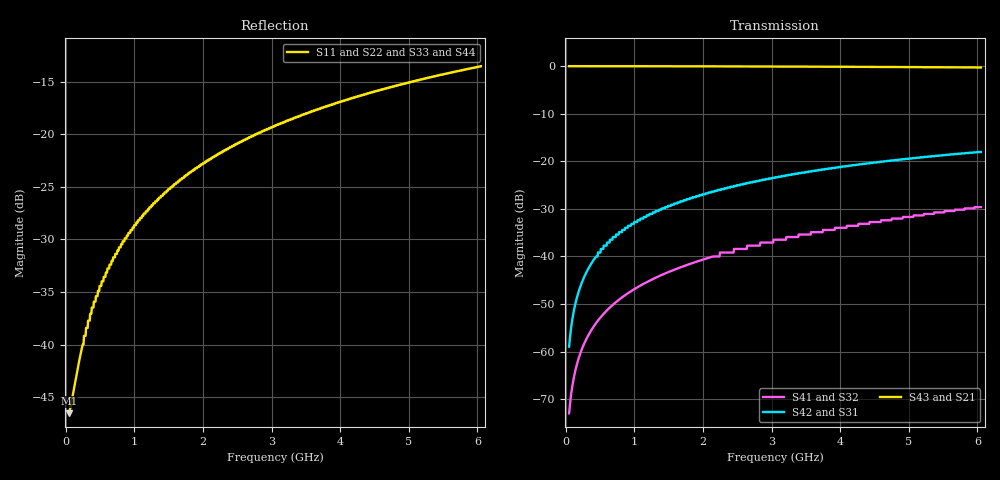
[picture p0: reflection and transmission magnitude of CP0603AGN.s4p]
!	AVX THIN FILM OPERATION
!	CP0603 HIGH DIRECTIVITY COUPLERS
!	P/N CP0603AxxxxGNTR
!	Network	Analyzer HP8720ES.07.64:Feb23,2000 Serial No.US39172382
!	Hewlett-Packard
!	25 December 2012
# MHz S MA R 50
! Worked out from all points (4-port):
!   1000 points, 50 MHz to 6.05 GHz, reference 50 ohm
!   strongest paths, dB at 50 MHz, 1.552 GHz, 3.053 GHz, 4.555 GHz, 6.05 GHz:
!     S43: 0.0, -0.1, -0.1, -0.2, -0.3
!     S21: 0.0, -0.1, -0.1, -0.2, -0.3
!     S42: -58.9, -29.1, -23.5, -20.2, -18.1
!     S31: -58.9, -29.1, -23.5, -20.2, -18.1
!     S41: -72.9, -43.0, -36.5, -32.8, -29.6
!     S32: -72.9, -43.0, -36.5, -32.8, -29.6
!   lowest |S11| = -46.5 dB at 50 MHz (marker M1), VSWR 1.01, Z = 50.4 + j0.182 ohm
!   |S11| at or under -10 dB: start of sweep to end of sweep
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50  0.00471 22.6  0.996 -0.2  0.00113 89.8  0.0002255 -90.7
    0.996 -0.2  0.00471 22.6  0.0002255 -90.7  0.00113 89.8
    0.00113 89.8  0.0002255 -90.7  0.00471 22.6  0.996 -0.2
    0.0002255 -90.7  0.00113 89.8  0.996 -0.2  0.00471 22.6
182.132  0.007924 56.2  0.996 -0.6  0.004116 89.4  0.0008215 -92.5
         0.996 -0.6  0.007924 56.2  0.0008215 -92.5  0.004116 89.4
         0.004116 89.4  0.0008215 -92.5  0.007924 56.2  0.996 -0.6
         0.0008215 -92.5  0.004116 89.4  0.996 -0.6  0.007924 56.2
398.348  0.015 72.0  0.996 -1.2  0.009 88.6  0.001798 -95.4
         0.996 -1.2  0.015 72.0  0.001798 -95.4  0.009 88.6
         0.009 88.6  0.001798 -95.4  0.015 72.0  0.996 -1.2
         0.001798 -95.4  0.009 88.6  0.996 -1.2  0.015 72.0
764.715  0.028 78.6  0.995 -2.4  0.017 87.3  0.003463 -100.3
         0.995 -2.4  0.028 78.6  0.003463 -100.3  0.017 87.3
         0.017 87.3  0.003463 -100.3  0.028 78.6  0.995 -2.4
         0.003463 -100.3  0.017 87.3  0.995 -2.4  0.028 78.6
1299.249  0.047 80.5  0.994 -4.0  0.029 85.4  0.005931 -107.4
          0.994 -4.0  0.047 80.5  0.005931 -107.4  0.029 85.4
          0.029 85.4  0.005931 -107.4  0.047 80.5  0.994 -4.0
          0.005931 -107.4  0.029 85.4  0.994 -4.0  0.047 80.5
3233.183  0.116 77.4  0.986 -10.0  0.071 78.8  0.016 -132.1
          0.986 -10.0  0.116 77.4  0.016 -132.1  0.071 78.8
          0.071 78.8  0.016 -132.1  0.116 77.4  0.986 -10.0
          0.016 -132.1  0.071 78.8  0.986 -10.0  0.116 77.4
6050  0.211 69.7  0.965 -18.5  0.125 69.7  0.033 -163.4
      0.965 -18.5  0.211 69.7  0.033 -163.4  0.125 69.7
      0.125 69.7  0.033 -163.4  0.211 69.7  0.965 -18.5
      0.033 -163.4  0.125 69.7  0.965 -18.5  0.211 69.7
